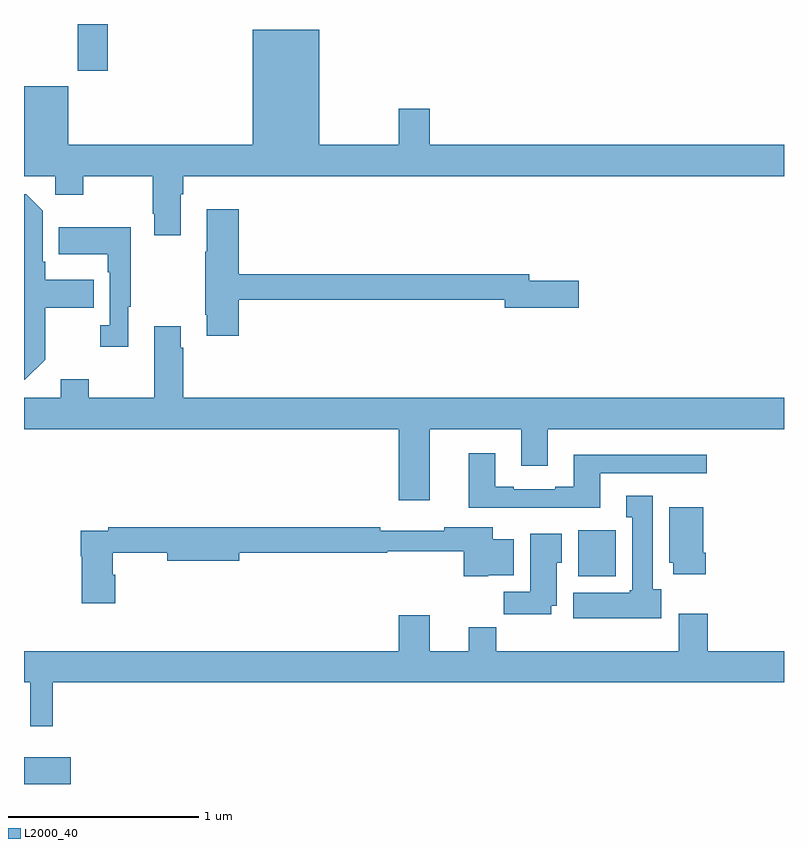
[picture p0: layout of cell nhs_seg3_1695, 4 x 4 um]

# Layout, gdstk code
import gdstk
lib = gdstk.Library(unit=1e-6, precision=1e-09)
def R(c, l, rs):  # rectangles x0, y0, x1, y1
    for r in rs: c.add(gdstk.rectangle(r[:2], r[2:], *l))
def P(c, l, *ps):  # polygons
    for p in ps: c.add(gdstk.Polygon(p, *l))
L2000_40 = (2000, 40)

nhs_seg3_1695 = lib.new_cell('nhs_seg3_1695')
R(nhs_seg3_1695, L2000_40, [(199,680.4,199.246,680.542), (201.917,681.494,202.114,681.736), (199.282,684.153,199.442,684.4)])
P(nhs_seg3_1695, L2000_40, [(199.825,683.504),(199.838,683.504),(199.838,683.6),(203,683.6),(203,683.764),(201.136,683.764),(201.136,683.953),(200.972,683.953),(200.972,683.764),(200.554,683.764),(200.554,684.37),(200.204,684.37),(200.204,683.764),(199.234,683.764),(199.234,684.073),(199,684.073),(199,683.6),(199.164,683.6),(199.164,683.501),(199.311,683.501),(199.311,683.6),(199.678,683.6),(199.678,683.401),(199.685,683.401),(199.685,683.289),(199.825,683.289)],
  [(199.111,682.633),(199.111,682.906),(199.367,682.906),(199.367,683.053),(199.111,683.053),(199.111,683.149),(199.098,683.149),(199.098,683.418),(199.011,683.505),(199,683.505),(199,683.36),(199.002,683.358),(199.002,682.677),(199,682.675),(199,682.527),(199.005,682.527)],
  [(200.129,682.948),(201.53,682.948),(201.53,682.906),(201.919,682.906),(201.919,683.048),(201.658,683.048),(201.658,683.084),(200.129,683.084),(200.129,683.425),(199.961,683.425),(199.961,683.201),(199.954,683.201),(199.954,682.87),(199.961,682.87),(199.961,682.758),(200.129,682.758)],
  [(199.549,682.913),(199.561,682.913),(199.561,683.329),(199.183,683.329),(199.183,683.189),(199.44,683.189),(199.44,683.093),(199.452,683.093),(199.452,682.814),(199.401,682.814),(199.401,682.701),(199.549,682.701)],
  [(201.136,682.268),(201.617,682.268),(201.617,682.074),(201.757,682.074),(201.757,682.268),(203,682.268),(203,682.432),(199.838,682.432),(199.838,682.697),(199.825,682.697),(199.825,682.81),(199.685,682.81),(199.685,682.432),(199.341,682.432),(199.341,682.531),(199.193,682.531),(199.193,682.432),(199,682.432),(199,682.268),(200.972,682.268),(200.972,681.894),(201.136,681.894)],
  [(202.033,682.035),(202.594,682.035),(202.594,682.132),(201.893,682.132),(201.893,681.964),(201.797,681.964),(201.797,681.951),(201.577,681.951),(201.577,681.964),(201.481,681.964),(201.481,682.141),(201.341,682.141),(201.341,681.854),(202.033,681.854)],
  [(202.354,681.426),(202.309,681.426),(202.309,681.916),(202.169,681.916),(202.169,681.803),(202.202,681.803),(202.202,681.42),(202.189,681.42),(202.189,681.406),(201.89,681.406),(201.89,681.272),(202.354,681.272)],
  [(202.589,681.616),(202.576,681.616),(202.576,681.856),(202.397,681.856),(202.397,681.564),(202.418,681.564),(202.418,681.504),(202.589,681.504)],
  [(199.481,681.501),(199.468,681.501),(199.468,681.616),(199.754,681.616),(199.754,681.574),(200.134,681.574),(200.134,681.616),(200.912,681.616),(200.912,681.624),(201.314,681.624),(201.314,681.494),(201.444,681.494),(201.444,681.5),(201.577,681.5),(201.577,681.688),(201.466,681.688),(201.466,681.752),(201.212,681.752),(201.212,681.733),(200.876,681.733),(200.876,681.752),(199.444,681.752),(199.444,681.732),(199.298,681.732),(199.298,681.599),(199.303,681.599),(199.303,681.351),(199.481,681.351)],
  [(201.775,681.338),(201.805,681.338),(201.805,681.564),(201.829,681.564),(201.829,681.718),(201.665,681.718),(201.665,681.412),(201.526,681.412),(201.526,681.294),(201.775,681.294)],
  [(199.151,680.936),(203,680.936),(203,681.1),(202.598,681.1),(202.598,681.295),(202.445,681.295),(202.445,681.1),(201.485,681.1),(201.485,681.224),(201.341,681.224),(201.341,681.1),(201.136,681.1),(201.136,681.289),(200.972,681.289),(200.972,681.1),(199,681.1),(199,680.936),(199.034,680.936),(199.034,680.703),(199.151,680.703)])

lib.write_gds('nhs_seg3_1695.gds')
